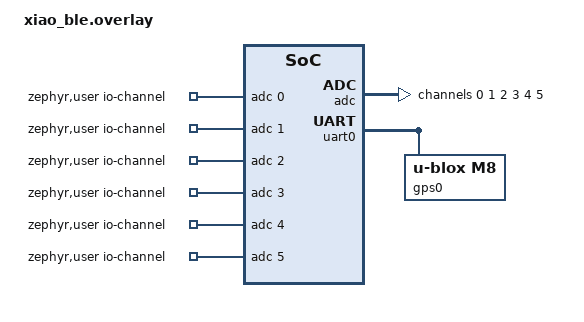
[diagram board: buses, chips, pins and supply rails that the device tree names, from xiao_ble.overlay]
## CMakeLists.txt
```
cmake_minimum_required(VERSION 3.20.0)
find_package(Zephyr REQUIRED HINTS $ENV{ZEPHYR_BASE})

project(Mark_1)

# NORDIC SDK APP START
target_sources(app PRIVATE
  src/main.c
  src/led_control.c
  src/led_control.h
  src/bluetooth_control.c
  src/bluetooth_control.h
  src/adc_control.c
  src/adc_control.h
  src/button_control.c
  src/button_control.h
  src/UART_bt_control.c
  src/UART_bt_control.h
  src/boot_bt_connect.c
  src/boot_bt_connect.h
  src/GPS.c
  src/GPS.h
  src/IMU.c
  src/IMU.h
  src/iphone_bt_connect.c
  src/iphone_bt_connect.h
  src/left_boot_operation.c
  src/left_boot_operation.h
  src/right_boot_operation.c
  src/right_boot_operation.h
)

# NORDIC SDK APP END
zephyr_library_include_directories(.)
```

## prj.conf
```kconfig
#Blueteeth LE
CONFIG_BT=y 
CONFIG_BT_DEVICE_NAME="BOARD_HALO_MARK3" 
CONFIG_BT_PERIPHERAL=y

# Logger module
CONFIG_LOG=y 

# Enable the LBS service
CONFIG_BT_LBS=y 
CONFIG_DK_LIBRARY=y

CONFIG_SYSTEM_WORKQUEUE_STACK_SIZE=4096
CONFIG_MAIN_STACK_SIZE=4096
CONFIG_HEAP_MEM_POOL_SIZE=8192
# console buffer ouput sizes
CONFIG_LOG_BUFFER_SIZE=10000


#PWM
CONFIG_PWM=y
CONFIG_COMMON_LIBC_MALLOC=y
CONFIG_PWM_NRFX=y

# GPIO
CONFIG_GPIO=y

# ADC
CONFIG_ADC=y

# SCAN MODULE
CONFIG_BT_CENTRAL=y
CONFIG_BT_SCAN=y


# SECURITY
CONFIG_BT_SMP=y

# BONDING #somthing is stopping the scanning to start when the bonding occurs. 
CONFIG_SETTINGS=y
CONFIG_BT_SETTINGS=y
CONFIG_FLASH=y
CONFIG_FLASH_PAGE_LAYOUT=y
CONFIG_FLASH_MAP=y
CONFIG_NVS=y

# ACCEPT LIST
CONFIG_BT_FILTER_ACCEPT_LIST=y
CONFIG_BT_PRIVACY=y
CONFIG_BT_MAX_PAIRED=1

# SCAN FILTERS
CONFIG_BT_SCAN_FILTER_ENABLE=y
CONFIG_BT_SCAN_SHORT_NAME_MAX_LEN=100
CONFIG_BT_SCAN_UUID_CNT=1
CONFIG_BT_SCAN_SHORT_NAME_CNT=1
CONFIG_BT_SCAN_NAME_CNT=1
CONFIG_BT_SCAN_ADDRESS_CNT=1

# BLUETOOTH CENTRAL TRANSMIT 
CONFIG_BT_GATT_CLIENT=y

CONFIG_BT_SMP=y

CONFIG_BT_L2CAP_TX_MTU=100
CONFIG_BT_BUF_ACL_RX_SIZE=100
CONFIG_BT_BUF_ACL_RX_COUNT=10



# MUTEX
# CONFIG_NUM_PREEMPT_PRIORITIES=2

# NUS Bluetooth? Added this in so the GNSS code could work 
CONFIG_BT_NUS_CLIENT=y
CONFIG_BT_NUS=y
CONFIG_BT_GATT_DM=y     # For GATT Discovery Manager


# GPS SET UP
CONFIG_GNSS=y
CONFIG_GNSS_REFERENCE_FRAME_WGS84=y
CONFIG_GNSS_U_BLOX_M8=y
# CONFIG_SERIAL=y
# CONFIG_UART_INTERRUPT_DRIVEN=y
# CONFIG_UART_ASYNC_API=y
# CONFIG_UART_WIDE_DATA=y

# CONFIG_GNSS=y
# CONFIG_GNSS_SATELLITES=y
# CONFIG_GNSS_DUMP=y
# CONFIG_GNSS_PARSE=y
# CONFIG_GNSS_NMEA0183=y
# CONFIG_GNSS_NMEA0183_MATCH=y

# CONFIG_MODEM=y
# CONFIG_MODEM_MODULES=y
# CONFIG_MODEM_UBX=y
# CONFIG_GNSS_U_BLOX_PROTOCOL=y

# CONFIG_GNSS_LOG_LEVEL_ERR=y

# CONFIG_GNSS_U_BLOX_M8=y

# CONFIG_CBPRINTF_FP_SUPPORT=y
# CONFIG_CBPRINTF_COMPLETE=y

#IMU includes: 
CONFIG_SENSOR=y
CONFIG_I2C=y
# CONFIG_SPI=y
CONFIG_LSM6DSL=y
# CONFIG_LSM6DSL_TRIGGER_GLOBAL_THREAD=y

# CONFIG_LSM6DSL_GYRO_ODR=1
# CONFIG_LSM6DSL_ACCEL_ODR=1
```

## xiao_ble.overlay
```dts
/ {
    zephyr,user {
        io-channels = <&adc 0>, <&adc 1>, <&adc 2>, <&adc 3>, <&adc 4>, <&adc 5>;
    };
};

&adc {
    #address-cells = <1>;
    #size-cells = <0>;
    status = "okay";

    channel@0 {
        reg = <0>;
        zephyr,gain = "ADC_GAIN_1_2";
        zephyr,reference = "ADC_REF_INTERNAL";
        zephyr,acquisition-time = <ADC_ACQ_TIME_DEFAULT>;
        zephyr,input-positive = <NRF_SAADC_AIN0>; /* P0.02 */
        zephyr,resolution = <12>;
        zephyr,oversampling = <0>;
    };

    channel@1 {
        reg = <1>;
        zephyr,gain = "ADC_GAIN_1_2";
        zephyr,reference = "ADC_REF_INTERNAL";
        zephyr,acquisition-time = <ADC_ACQ_TIME_DEFAULT>;
        zephyr,input-positive = <NRF_SAADC_AIN1>; /* P0.03 */
        zephyr,resolution = <12>;
        zephyr,oversampling = <0>;
    };

    channel@2 {
        reg = <2>;
        zephyr,gain = "ADC_GAIN_1_2";
        zephyr,reference = "ADC_REF_INTERNAL";
        zephyr,acquisition-time = <ADC_ACQ_TIME_DEFAULT>;
        zephyr,input-positive = <NRF_SAADC_AIN2>; /* P0.28 */
        zephyr,resolution = <12>;
        zephyr,oversampling = <0>;
    };

    channel@3 {
        reg = <3>;
        zephyr,gain = "ADC_GAIN_1_2";
        zephyr,reference = "ADC_REF_INTERNAL";
        zephyr,acquisition-time = <ADC_ACQ_TIME_DEFAULT>;
        zephyr,input-positive = <NRF_SAADC_AIN3>; /* P0.29 */
        zephyr,resolution = <12>;
        zephyr,oversampling = <0>;
    };

    channel@4 {
        reg = <4>;
        zephyr,gain = "ADC_GAIN_1_2";
        zephyr,reference = "ADC_REF_INTERNAL";
        zephyr,acquisition-time = <ADC_ACQ_TIME_DEFAULT>;
        zephyr,input-positive = <NRF_SAADC_AIN4>; /* P0.04 */
        zephyr,resolution = <12>;
        zephyr,oversampling = <0>;
    };

    channel@5 {
        reg = <5>;
        zephyr,gain = "ADC_GAIN_1_2";
        zephyr,reference = "ADC_REF_INTERNAL";
        zephyr,acquisition-time = <ADC_ACQ_TIME_DEFAULT>;
        zephyr,input-positive = <NRF_SAADC_AIN5>; /* P0.05 */
        zephyr,resolution = <12>;
        zephyr,oversampling = <0>;
    };


};

&uart0 {
    status = "okay";
    gps0: gps {
        compatible = "u-blox,m8";
        uart-baudrate = <115200>;
        status = "okay";
    };
};
```

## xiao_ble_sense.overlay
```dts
/ {
    zephyr,user {
        io-channels = <&adc 0>, <&adc 1>, <&adc 2>, <&adc 3>, <&adc 4>, <&adc 5>;
    };
};

&uart0 {
    status = "okay";
    gps0: gps {
        compatible = "u-blox,m8";
        uart-baudrate = <115200>;
        status = "okay";
    };
};

/ {
    lsm6ds3tr-c-en {
        startup-delay-us = <10000>;
    };
};


&adc {
    #address-cells = <1>;
    #size-cells = <0>;
    status = "okay";

    channel@0 {
        reg = <0>;
        zephyr,gain = "ADC_GAIN_1_2";
        zephyr,reference = "ADC_REF_INTERNAL";
        zephyr,acquisition-time = <ADC_ACQ_TIME_DEFAULT>;
        zephyr,input-positive = <NRF_SAADC_AIN0>; /* P0.02 */
        zephyr,resolution = <12>;
        zephyr,oversampling = <0>;
    };

    channel@1 {
        reg = <1>;
        zephyr,gain = "ADC_GAIN_1_2";
        zephyr,reference = "ADC_REF_INTERNAL";
        zephyr,acquisition-time = <ADC_ACQ_TIME_DEFAULT>;
        zephyr,input-positive = <NRF_SAADC_AIN1>; /* P0.03 */
        zephyr,resolution = <12>;
        zephyr,oversampling = <0>;
    };

    channel@2 {
        reg = <2>;
        zephyr,gain = "ADC_GAIN_1_2";
        zephyr,reference = "ADC_REF_INTERNAL";
        zephyr,acquisition-time = <ADC_ACQ_TIME_DEFAULT>;
        zephyr,input-positive = <NRF_SAADC_AIN2>; /* P0.28 */
        zephyr,resolution = <12>;
        zephyr,oversampling = <0>;
    };

    channel@3 {
        reg = <3>;
        zephyr,gain = "ADC_GAIN_1_2";
        zephyr,reference = "ADC_REF_INTERNAL";
        zephyr,acquisition-time = <ADC_ACQ_TIME_DEFAULT>;
        zephyr,input-positive = <NRF_SAADC_AIN3>; /* P0.29 */
        zephyr,resolution = <12>;
        zephyr,oversampling = <0>;
    };

    channel@4 {
        reg = <4>;
        zephyr,gain = "ADC_GAIN_1_2";
        zephyr,reference = "ADC_REF_INTERNAL";
        zephyr,acquisition-time = <ADC_ACQ_TIME_DEFAULT>;
        zephyr,input-positive = <NRF_SAADC_AIN4>; /* P0.04 */
        zephyr,resolution = <12>;
        zephyr,oversampling = <0>;
    };

    channel@5 {
        reg = <5>;
        zephyr,gain = "ADC_GAIN_1_2";
        zephyr,reference = "ADC_REF_INTERNAL";
        zephyr,acquisition-time = <ADC_ACQ_TIME_DEFAULT>;
        zephyr,input-positive = <NRF_SAADC_AIN5>; /* P0.05 */
        zephyr,resolution = <12>;
        zephyr,oversampling = <0>;
    };


};
```

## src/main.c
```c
#include <zephyr/kernel.h>
#include <zephyr/logging/log.h>
#include <zephyr/drivers/adc.h>
#include <stdlib.h>


#include "led_control.h"
#include "adc_control.h"
#include "bluetooth_control.h"
#include "button_control.h"
#include "UART_bt_control.h"
#include "boot_bt_connect.h"
#include "GPS.h"
#include "IMU.h"
#include "left_boot_operation.h"
#include "right_boot_operation.h"

#include <math.h>

// GPIO0 - adc read pins
#define PIN_ADC_READ_0 (2)
#define PIN_ADC_READ_1 (3)
#define PIN_ADC_READ_2 (28)
#define PIN_ADC_READ_3 (29)
#define PIN_ADC_READ_4 (4)
#define PIN_ADC_READ_5 (5)

// GPIO1
//PIN_BOOT_DEFINE_SWITCH in the button_control.h file
//PIN_BOOT_PAIRING_BUTTON in the button_control.h file
//PIN_WRIST_PAIRING_BUTTON in button_control.h file

#define BOND_CONNECT_COUNT_THRESHOLD (4) //number of half second period to try bonding before giving up
#define PRESSURE_THRESHOLD (100)


// FUNCTION DEFINITIONS

void pairing_button_cb(const struct device *port, struct gpio_callback *cb, gpio_port_pins_t pins);
void bt_ready_cb(int err);

LOG_MODULE_REGISTER(base_station, LOG_LEVEL_INF);

//flags
bool btReady = false; 



int main(void)
{
        k_sleep(K_SECONDS(2));
        //Setup
        int err = 0; 

        //flags 
        extern bool isRightBoot; 
        bool requestFinished = true; 
        extern bool adcFinished;
        extern bool UARTFinished; 
        extern bool UARTSendEnable; 
        bool UARTTransmit = false; 
        
        //variables
        int *UART_Comp_Array;
        // extern const struct device *uart; //uart binding
        extern uint8_t uart_rx_data[]; // array for receiving data from the left boot
        extern struct k_mutex uart_data_mutex; 
        uint8_t uart_phone_buf[2*NUM_SENSORS+IMU_BYTES+GPS_BYTES];

        extern struct gps_data gps_data;

        //get the gpio binding
        const struct device *gpio0_dev = DEVICE_DT_GET(DT_NODELABEL(gpio0));
	if (gpio0_dev == NULL) {
		LOG_ERR("Device binding is not found\n");
		return -1; 
	}

        const struct device *gpio1_dev = DEVICE_DT_GET(DT_NODELABEL(gpio1));
	if (gpio1_dev == NULL) {
		LOG_ERR("Device binding is not found\n");
		return -1; 
	}

        //------------------------LED INIT------------------------//
        // on board status led
        err = dk_leds_init();
	if (err) {
		printk("LEDs init failed (err %d)\n", err);
		return 0;
	}



        // ---------------------------ADC INIT---------------------------//

        // //initalize the adc device tree variable 
        static const struct adc_dt_spec adc_channel_0 = ADC_DT_SPEC_GET_BY_IDX(DT_PATH(zephyr_user),0);
        static const struct adc_dt_spec adc_channel_1 = ADC_DT_SPEC_GET_BY_IDX(DT_PATH(zephyr_user),1);
        static const struct adc_dt_spec adc_channel_2 = ADC_DT_SPEC_GET_BY_IDX(DT_PATH(zephyr_user),2);
        static const struct adc_dt_spec adc_channel_3 = ADC_DT_SPEC_GET_BY_IDX(DT_PATH(zephyr_user),3);
        static const struct adc_dt_spec adc_channel_4 = ADC_DT_SPEC_GET_BY_IDX(DT_PATH(zephyr_user),4);
        static const struct adc_dt_spec adc_channel_5 = ADC_DT_SPEC_GET_BY_IDX(DT_PATH(zephyr_user),5);

        const struct device *adc_dev = DEVICE_DT_GET(DT_NODELABEL(adc));

        if(!adc_is_ready_dt(&adc_channel_0)){
                LOG_ERR("ADC controller device %s not ready", adc_channel_0.dev->name);
        }

        if(!adc_is_ready_dt(&adc_channel_1)){
                LOG_ERR("ADC controller device %s not ready", adc_channel_1.dev->name);
        }

        if(!adc_is_ready_dt(&adc_channel_2)){
                LOG_ERR("ADC controller device %s not ready", adc_channel_2.dev->name);
        }

        if(!adc_is_ready_dt(&adc_channel_3)){
                LOG_ERR("ADC controller device %s not ready", adc_channel_3.dev->name);
        }

        if(!adc_is_ready_dt(&adc_channel_4)){
                LOG_ERR("ADC controller device %s not ready", adc_channel_4.dev->name);
        }

        if(!adc_is_ready_dt(&adc_channel_5)){
                LOG_ERR("ADC controller device %s not ready", adc_channel_5.dev->name);
        }

        err = adc_channel_setup_dt(&adc_channel_0);
        if (err < 0) {
                LOG_ERR("Could not setup channel #%d (%d)", 0, err);
                return 0;
        }

        err = adc_channel_setup_dt(&adc_channel_1);
        if (err < 0) {
                LOG_ERR("Could not setup channel #%d (%d)", 0, err);
                return 0;
        }

        err = adc_channel_setup_dt(&adc_channel_2);
        if (err < 0) {
                LOG_ERR("Could not setup channel #%d (%d)", 0, err);
                return 0;
        }

        err = adc_channel_setup_dt(&adc_channel_3);
        if (err < 0) {
                LOG_ERR("Could not setup channel #%d (%d)", 0, err);
                return 0;
        }

        err = adc_channel_setup_dt(&adc_channel_4);
        if (err < 0) {
                LOG_ERR("Could not setup channel #%d (%d)", 0, err);
                return 0;
        }

        err = adc_channel_setup_dt(&adc_channel_5);
        if (err < 0) {
                LOG_ERR("Could not setup channel #%d (%d)", 0, err);
                return 0;
        }

        struct adc_sequence_options opts = {
                .interval_us = 0,
                .callback = my_adc_sequence_callback,
                .user_data = NULL, 
                .extra_samplings = 0,
                
        };
        uint8_t adc_buf[ADC_BUFFER_SIZE] = {0};
        
	struct adc_sequence sequence = {
		.buffer = &adc_buf,
		.buffer_size = sizeof(adc_buf),
		//Optional
		//.calibrate = true, //turn on calibration after the bare minimum code is active
                .options = &opts,
                .channels = (1 << NUM_SENSORS) - 1,
                .resolution = 12,
	};

        err = adc_read(adc_dev, &sequence);
        if (err < 0) {
                LOG_ERR("Could not read (%d)", err);
                return -1; 
        }

        //test the adc read 
        for (int i = 0; i < ADC_BUFFER_SIZE; i++){
                LOG_INF("INDEX: %d -- VALUE: %d", i, adc_buf[i]);
        }

        while(!adcFinished);
        LOG_INF("ADC INITALIZATION DONE\n"); 




        //----------------------GPIO INIT--------------------------//

        //---------------------SWITCH INIT----------------------//
        err = init_select_switch(gpio1_dev, PIN_BOOT_DEFINE_SWITCH);
        if (err < 0) {
                LOG_ERR("ERR Initializing L_R define switch: %d", err);
        }

        err = gpio_pin_get(gpio1_dev,PIN_BOOT_DEFINE_SWITCH);
        LOG_INF("Switch Result: %d", err);
        if (err < 0){
                LOG_ERR("ERROR getting state L_R define switch: %d", err);
        } else if(err == 1){
                isRightBoot = true; 
                UART_Comp_Array = k_malloc(sizeof(uint16_t)*NUM_SENSORS);
                LOG_INF("Right Boot Present");
        } else {
                isRightBoot = false; 
                LOG_INF("Left Boot Present");
        }

        //---------------------BUTTON INIT-------------------------//
        static struct gpio_callback button_interupt_cb_pairing;
        static struct gpio_callback button_interupt_cb_phone;
        
        err = init_pairing_button(gpio1_dev, PIN_BOOT_PAIRING_BUTTON, &button_interupt_cb_pairing, boot_pairing_button_cb);
        if (err < 0){
                LOG_ERR("ERROR Inializing L_R pairing button: %d", err);
        }

        err = init_pairing_button(gpio1_dev,PIN_PHONE_PAIRING_BUTTON, &button_interupt_cb_phone, phone_pairing_button_cb);
        if (err < 0) {
                LOG_ERR("ERROR Intializing wrist pairing button: %d", err);
        }
        //-----------------BLUETOOTH -----------------------//

        
        //-----------------------BLUETOOTH SCAN----------------------//
        LOG_INF("Eabling the bluetooth module to start");
        err = bt_enable(bt_ready_cb);
	if (err) {
		LOG_ERR("Bluetooth init failed (err %d)", err);
		return 0;
	}

        struct bt_conn_cb cb = {
                .connected = connected,
                .disconnected = disconnected,
                .security_changed = on_security_changed,
        };

        bt_conn_cb_register(&cb);

        while(!btReady);

        err = settings_load();
        if (err) {
                LOG_ERR("Settings load failed (err %d)", err);
        }

        if(isRightBoot){
                const struct bt_scan_init_param bt_scan_init_opts = {
                        .scan_param = NULL, //default config 
                        .connect_if_match = true,
                        .conn_param = NULL, //default config
                };

                bt_scan_init(&bt_scan_init_opts); 
                BT_SCAN_CB_INIT(boot_scan_cb, boot_scan_filter_match, boot_scan_filter_no_match, boot_scan_connecting_error, boot_scan_connecting);
                bt_scan_cb_register(&boot_scan_cb);
                
                //RIGHT BOOT with LEFT BOOT set up
                err= nus_client_init();
                if (err < 0){
                        LOG_INF("Failed to intialized nus client");
                }

                struct bt_nus_cb uart_cb = {
                        .sent = sent_uart_cb,
                        .send_enabled = send_enable_uart_cb,

                };

                //RIGHT BOOT with PHONE SET UP 
                err = bt_nus_init(&uart_cb);
                if(err < 0){
                        LOG_ERR("ERROR UART service init error: %d", err);
                }
        } else {
                struct bt_nus_cb uart_cb = {
                        .sent = sent_uart_cb,
                        .send_enabled = send_enable_uart_cb,

                };

                //LEFT BOOTH SET UP 
                err = bt_nus_init(&uart_cb);
                if(err < 0){
                        LOG_ERR("ERROR UART service init error: %d", err);
                }

        }

        *led_operation_ptr = BOARD_ALIVE;

        
        //----------------------GPS INIT---------------------------//
        // check if the device is available
        if (!device_is_ready(GPS_DEVICE)) {
                LOG_ERR("GNSS device is not ready");
                return -1;
        } else {
                LOG_INF("GPS DEVICE IS READY");
        }

        // GPS scanning start
        GNSS_DATA_CALLBACK_DEFINE(GPS_DEVICE, gnss_data_cb);

        //-------------------IMU INIT ------------------------//
        if(IMU_DEVICE_READY){
                err = IMUSetup();
                if(err < 0){
                        return -1;
                }
        }

        // Initial Bluetooth COnnection start

        LOG_INF("STARTING THE BLUETOOTH START UP CONNECTIONS");

        // start the advertising of the left boot such that the right boot can connect
        if (isRightBoot){
                LOG_INF("RIGHT BOOT PRESENT");
		LOG_INF("SCANNING FOR L boot");
		// use the scanning options
		k_work_submit(&Lboot_scan_work);

                k_sleep(K_SECONDS(2));

                LOG_INF("Advertising right boot for phone connection");
		// use the scanning options
		k_work_submit(&advertise_phone_work);
	} else {
                LOG_INF("LEFT BOOT PRESENT");
		//left boot operation is being focused on 
		LOG_INF("ADVERTISING L BOOT");
		k_work_submit(&advertise_L_boot_work);

	}

        for(;;){
                if(!isRightBoot){ //LEFT/Server
                LOG_INF("In the LEFT BRANCH");
                        left_boot_operation(&requestFinished, &adcFinished, &UARTFinished, &UARTSendEnable, ADC_BUFFER_SIZE, adc_dev, &sequence, &adc_buf);
                        
                } else {
                LOG_INF("In the RIGHT Branch");
                        right_boot_operation(&requestFinished, &UARTTransmit, &UARTSendEnable, &adcFinished, adc_dev, &sequence, &adc_buf, &uart_rx_data, &uart_data_mutex, &uart_phone_buf, &gps_data);
                }
                
                
                status_led_operation(*led_operation_ptr);

        }
        return 0;
};

/** @brief  callback function to show the user is a connection has been made or not and set flag to allow the code to begin bluetooth activites
 * 
 *     
 *  @param err: error present with the connection if at all. 
 *  
*/

void bt_ready_cb(int err){
        if (err < 0){
                LOG_ERR("Error with enabling the bluetooth module (err: %d)", err);
        } else {
                LOG_INF("Bluetooth initialized");
        }

        btReady = true; 

};
```

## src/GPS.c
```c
#include "GPS.h"

LOG_MODULE_REGISTER(gps, LOG_LEVEL_DBG);

struct gps_data gps_data = {0};

void gnss_data_cb(const struct device *dev, const struct gnss_data *data)
{
	if (data->info.fix_status != GNSS_FIX_STATUS_NO_FIX) { 
        LOG_INF("GNSS WORKING");
		double latitude = data->nav_data.latitude /1e9;
        double longitude = data->nav_data.longitude/ 1e9;
        double speed = data->nav_data.speed; // Speed in meters per second
        struct gnss_time time = data->utc; // Convert timestamp to time structure

        gps_data.time.hours = time.hour;
        gps_data.time.minutes = time.minute;
        gps_data.time.milliseconds = time.millisecond;
        gps_data.latitude = latitude;
        gps_data.longitude = longitude;
        gps_data.speed = speed;
        

        LOG_INF("Location: Latitude: %.6f, Longitude: %.6f, Time: %02d:%02d:%02d UTC, Speed: %.2f mm/s",
                latitude,
                longitude,
                time.hour,
                time.minute,
                time.millisecond,
                speed);
	} else {
        LOG_INF("NO FIX");
    }
}
// GNSS_DATA_CALLBACK_DEFINE(GPS_DEVICE, gnss_data_cb);
```

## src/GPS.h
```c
#ifndef GPS_H
#define GPS_H

#include <zephyr/kernel.h>
#include <zephyr/logging/log.h>
#include <zephyr/device.h>
#include <zephyr/drivers/gnss.h>
#include <zephyr/drivers/gpio.h>

#define GPS_NODE DT_NODELABEL(gps0)
#define GPS_DEVICE DEVICE_DT_GET(GPS_NODE)
#define GPS_BYTES (8+8+4+1+1+2+2) //exta Plus 2 is added to provide the spacing

#if DT_NODE_EXISTS(GPS_NODE)
#define GPS_DEVICE_READY 1
#else
#define GPS_DEVICE_READY 0
#endif

// External variables 
extern struct gps_data gps_data;

//struct define
struct gps_time {
    uint8_t hours;    // Hours (0-23)
    uint8_t minutes;  // Minutes (0-59)
    uint16_t milliseconds;  // Seconds (0-5999)
};

struct gps_data {
    double latitude;
    double longitude;
    float speed;
    struct gps_time time; // Nested time struct
};


// Function declarations
void gnss_data_cb(const struct device *dev, const struct gnss_data *data);



#endif /* GPS_H */
```

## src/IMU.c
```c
#include "IMU.h"

LOG_MODULE_REGISTER(imu, LOG_LEVEL_INF);

#if IMU_DEVICE_READY // Only include IMU-related code if the device is present

int IMUSetup(){
    if (!device_is_ready(IMU_DEVICE)) {
                LOG_ERR("IMU device is not ready");
                return -1;
        } else {
                LOG_INF("IMU DEVICE MegIS READY");
        }

    return 0; 
};

int readIMUData(double accel[], double gyro[]){
    int err = 0; 

    static struct sensor_value accel_x, accel_y, accel_z;
	static struct sensor_value gyro_x, gyro_y, gyro_z;


    // Fetch accelerometer data
    err = sensor_sample_fetch_chan(IMU_DEVICE, SENSOR_CHAN_ACCEL_XYZ);
    if (err < 0) {
        LOG_ERR("Error fetching accelerometer data: %d", err);
        return err;  // Exit or handle the error appropriately
    }

    // Get accelerometer channels
    err = sensor_channel_get(IMU_DEVICE, SENSOR_CHAN_ACCEL_X, &accel_x);
    if (err < 0) {
        LOG_ERR("Error getting accelerometer X channel: %d", err);
    }

    err = sensor_channel_get(IMU_DEVICE, SENSOR_CHAN_ACCEL_Y, &accel_y);
    if (err < 0) {
        LOG_ERR("Error getting accelerometer Y channel: %d", err);
    }

    err = sensor_channel_get(IMU_DEVICE, SENSOR_CHAN_ACCEL_Z, &accel_z);
    if (err < 0) {
        LOG_ERR("Error getting accelerometer Z channel: %d", err);
    }

    // Fetch gyroscope data
    err = sensor_sample_fetch_chan(IMU_DEVICE, SENSOR_CHAN_GYRO_XYZ);
    if (err < 0) {
        LOG_ERR("Error fetching gyroscope data: %d", err);
        return err;  // Exit or handle the error appropriately
    }

    // Get gyroscope channels
    err = sensor_channel_get(IMU_DEVICE, SENSOR_CHAN_GYRO_X, &gyro_x);
    if (err < 0) {
        LOG_ERR("Error getting gyroscope X channel: %d", err);
    }

    err = sensor_channel_get(IMU_DEVICE, SENSOR_CHAN_GYRO_Y, &gyro_y);
    if (err < 0) {
        LOG_ERR("Error getting gyroscope Y channel: %d", err);
    }

    err = sensor_channel_get(IMU_DEVICE, SENSOR_CHAN_GYRO_Z, &gyro_z);
    if (err < 0) {
        LOG_ERR("Error getting gyroscope Z channel: %d", err);
    }

    accel[0] = sensor_value_to_double(&accel_x);
    accel[1] = sensor_value_to_double(&accel_y);
    accel[2] = sensor_value_to_double(&accel_z);

    gyro[0] = sensor_value_to_double(&gyro_x);
    gyro[1] = sensor_value_to_double(&gyro_y);
    gyro[2] = sensor_value_to_double(&gyro_z);

    return 0;
   
}

#endif // IMU_DEVICE_READY
```

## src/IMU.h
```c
#ifndef IMU_H
#define IMU_H

#include <zephyr/kernel.h>
#include <zephyr/logging/log.h>
#include <zephyr/device.h>
#include <zephyr/drivers/gpio.h>
#include <zephyr/drivers/sensor.h>


#define IMU_NODE DT_NODELABEL(lsm6ds3tr_c)
#define IMU_DEVICE DEVICE_DT_GET(IMU_NODE)
#define SAMPLE_FREQUENCY (2)
#define IMU_BYTES (6*4*2+2) //plus two for the spacing of data 

#if DT_NODE_EXISTS(IMU_NODE)
#define IMU_DEVICE_READY 1
#else
#define IMU_DEVICE_READY 0
#endif

// External variables 

//struct define

// Function declarations
#if IMU_DEVICE_READY
int IMUSetup();
int readIMUData(double accel[], double gyro[]);
#endif

#endif /* IMU_H */
```

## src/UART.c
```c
#include "UART.h"

LOG_MODULE_REGISTER(UART, LOG_LEVEL_INF);




#define UART_BUF_SIZE 128
static uint8_t uart_rx_buf[UART_BUF_SIZE];


int configUART(const struct device *uart){
    if (!device_is_ready(uart)) {
        return -ENODEV;
    }

    const struct uart_config uart_cfg = {
        .parity = UART_CFG_PARITY_NONE,
        .stop_bits = UART_CFG_STOP_BITS_1,
        .data_bits = UART_CFG_DATA_BITS_8,
        .flow_ctrl = UART_CFG_FLOW_CTRL_NONE
    };

    int err = uart_configure(uart, &uart_cfg);
    if (err < 0) {
        return err;
    }

    return 0;

};


static void uart_cb(const struct device *dev, struct uart_event *evt, void *user_data) {
    switch (evt->type) {
        case UART_TX_DONE:
            // Transmission complete
            LOG_INF("Transmission Complete");
            break;
        case UART_RX_RDY:
            // Copy the received data into a buffer
            memcpy(uart_rx_buf, evt->data.rx.buf + evt->data.rx.offset, evt->data.rx.len);
            uart_rx_buf[evt->data.rx.len] = '\0';  // Null-terminate the string

            
            LOG_INF("Data Received");
            // Process received data (do something with the data)
            find_and_parse_nmea((char *)uart_rx_buf, evt->data.rx.len);
            
            break;
        case UART_RX_DISABLED:
            // Re-enable UART RX if necessary
            uart_rx_enable(dev, uart_rx_buf, sizeof(uart_rx_buf), 100);
            break;
        default:
            break;
    }
}

int uart_init(const struct device *uart) {
    // Check if the UART device is ready
    if (!device_is_ready(uart)) {
        return -ENODEV;
    }

    // Set up the UART callback
    int err = uart_callback_set(uart, uart_cb, NULL);
    if (err < 0) {
        return err;
    }

    // Enable UART reception with a temporary receive buffer
    err = uart_rx_enable(uart, uart_rx_buf, sizeof(uart_rx_buf), 100);
    if (err < 0) {
        return err;
    }

    return 0;  // Success
};


// Function to parse the extracted NMEA sentence
static void parse_nmea_sentence(char *nmea_sentence) {
    char *token;
    char *latitude = NULL;
    char *longitude = NULL;
    char *time = NULL;
    char ns = 0, ew = 0;

    // Tokenize the NMEA sentence using commas as delimiters
    token = strtok(nmea_sentence, ",");

    int field_number = 0;
    while (token != NULL) {
        field_number++;

        switch (field_number) {
            case 2:  // Time field
                time = token;
                break;
            case 4:  // Latitude
                latitude = token;
                break;
            case 5:  // N/S indicator
                ns = *token;
                break;
            case 6:  // Longitude
                longitude = token;
                break;
            case 7:  // E/W indicator
                ew = *token;
                break;
            default:
                break;
        }

        // Move to the next field
        token = strtok(NULL, ",");
    }

    // Convert and print the results if valid
    if (latitude && longitude && time) {
        // Convert latitude and longitude from NMEA format
        float lat_deg = atof(latitude) / 100.0; // Convert to degrees
        float lon_deg = atof(longitude) / 100.0;

        // Apply N/S and E/W sign correction
        if (ns == 'S') lat_deg = -lat_deg;
        if (ew == 'W') lon_deg = -lon_deg;

        // Print the parsed information
        printk("Time: %2c%c:%2c%c:%2c%c UTC\n", time[0], time[1], time[2], time[3], time[4], time[5]);
        printk("Latitude: %.6f %c\n", lat_deg, ns);
        printk("Longitude: %.6f %c\n", lon_deg, ew);
    }
}

// Function to find $GPRMC in the received data
static void find_and_parse_nmea(char *buffer, size_t len) {
    char *start = strstr(buffer, "$GPRMC");
    if (start) {
        // Find the end of the NMEA sentence (marked by a newline or carriage return)
        char *end = strchr(start, '\n');
        if (end) {
            *end = '\0';  // Terminate the sentence at the newline
            parse_nmea_sentence(start);  // Parse the sentence
        } else {
            // Handle incomplete sentence (wait for more data)
            printk("Incomplete NMEA sentence\n");
        }
    } else {
        printk("$GPRMC not found\n");
    }
}
```

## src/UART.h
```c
#ifndef UART_H
#define UART_H

#include <zephyr/kernel.h>
#include <zephyr/logging/log.h>
#include <zephyr/drivers/uart.h>



// External variables
// extern const struct device *uart; 

//struct define

// Function declarations
int configUART(const struct device *uart);
int uart_init(const struct device *uart);
static void find_and_parse_nmea(char *buffer, size_t len);
static void parse_nmea_sentence(char *nmea_sentence);


#endif /* UART_H */
```

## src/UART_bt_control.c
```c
#include "UART_bt_control.h"

LOG_MODULE_REGISTER(UART_bt_control, LOG_LEVEL_INF);

bool UARTSendEnable = false;
bool UARTFinished = false; 
 
uint8_t uart_rx_data[UART_BUF_SIZE] = {0};
K_MUTEX_DEFINE(uart_data_mutex);

/** @brief Callback function for when the UART transmission is completed
 *  
 *  @param[in] conn Pointer to connection object, or NULL if sent to all
 *                 connected peers. 
 */
void sent_uart_cb(struct bt_conn *conn) {
    LOG_INF("UART data successfully sent");
    UARTFinished = true; 

}

/** @brief Callback function to check if the central has accepted notifications,
 *         allowing the rest of the system to start working.
 *  
 *  @param[in] status Send notification status.
 */
void send_enable_uart_cb(enum bt_nus_send_status status) {
    if (status == BT_NUS_SEND_STATUS_ENABLED) {
        LOG_INF("The UART connection is successful");
        UARTSendEnable = true; 
    } else {
        LOG_ERR("The UART connection failed");
    }
}

//Callback for accepting the incoming uart data over ble

uint8_t ble_uart_data_received(struct bt_nus_client *nus, const uint8_t *data, uint16_t len){
	// LOG_INF("Received Data from UART");
	ARG_UNUSED(nus);

	for (uint16_t i = 0; i < len; i++){
		k_mutex_lock(&uart_data_mutex,K_FOREVER);
		uart_rx_data[i] = data[i];
		k_mutex_unlock(&uart_data_mutex);
	}

	return BT_GATT_ITER_CONTINUE; 
};

/** @brief initialize the nuse client module for receiving information 
 * 
 *  
 *  @return error is present 
 */

int nus_client_init(){
	int err = 0; 
	static struct bt_nus_client_init_param init = {
		.cb = {
			.received = ble_uart_data_received,
		}
	};

	err = bt_nus_client_init(&nus_client, &init);
	if (err < 0){
		LOG_ERR("NUS Client Initilaizaiton failed (err %d)", err);
		return err; 
	}

	LOG_INF("NUS Client module initilized");
	return err; 
}

/** @brief Convert broken UART transmission values to a full UART resoltuion 
 * 	 
 * 	@param msb_val most signigifaicant bit number
 *  @param lsb_val least significant bit numer
 * 
 *  @return return a full resolution value 
 */

uint16_t UART_full_resolution_converter(uint8_t msb_val, uint8_t lsb_val){
	return (msb_val << 8) | lsb_val;
};

/** @brief Split a full UART resolution value into MSB and LSB
 * 
 *  @param full_val Full 16-bit resolution value to be split
 *  @param msb_val Pointer to store the most significant byte
 *  @param lsb_val Pointer to store the least significant byte
 */
void UART_split_resolution(uint16_t full_val, uint8_t *msb_val, uint8_t *lsb_val) {
    *msb_val = (full_val >> 8) & 0xFF; // Extract the MSB (upper 8 bits)
    *lsb_val = full_val & 0xFF;       // Extract the LSB (lower 8 bits)
}
```

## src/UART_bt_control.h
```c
#ifndef UART_BT_CONTROL_H
#define UART_BT_CONTROL_H

#include <zephyr/kernel.h>
#include <zephyr/bluetooth/bluetooth.h>
#include <bluetooth/services/nus.h>
#include <bluetooth/services/nus_client.h>
#include <zephyr/logging/log.h>

#include "boot_bt_connect.h"

// External variables
extern bool UARTSendEnable; 
extern bool UARTFinished; 
extern struct k_mutex uart_data_mutex; 
extern uint8_t uart_rx_data[];


// Function declarations
void sent_uart_cb(struct bt_conn *conn);
void send_enable_uart_cb(enum bt_nus_send_status status);
int UART_gatt_discover(struct bt_conn *conn);
int nus_client_init();
uint16_t UART_full_resolution_converter(uint8_t msb_val, uint8_t lsb_val);
void UART_split_resolution(uint16_t full_val, uint8_t *msb_val, uint8_t *lsb_val);

#endif /* UART_BT_CONTROL_H */
```

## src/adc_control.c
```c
/*
 * Copyright (c) 2018 Nordic Semiconductor ASA
 *
 * SPDX-License-Identifier: LicenseRef-Nordic-5-Clause
 */

/** @file
 *  @brief LED Button Service (LBS) sample
 */

#include "adc_control.h"


#define ADC_CHANNEL_ID  DT_PROP(DT_CHILD(ADC_NODE, channel_0), reg)


LOG_MODULE_REGISTER(ADC_Control, LOG_LEVEL_INF);

//flag definitions 
bool adcFinished = true; 


/** @brief request data from sensor 
* 
* 
*  @param gpio_dev device structure that contains the device tree information for the gpio peripheral 
*  @param spec adct_dt_spec of the device tree specification for the adc
*  @param sel_pins[] array of the pins that will be used to control the multiplexer
*  @param num_pins  the number of pins that are used to control the multiplexer
*  @param num_sesnor the number value designated to the sensor that is to be checked
*  @param adc_buffer ptr to a buffer that is used to load the adc sampled values
*  
*  @return error or success code 
*          error codes:   
*                    -100 --> num_sensor to be checked is greater than the total number of sensors on the board.       
*                      other errors --> based on the pin logic value setting  
*/

int request_sensor_data(const struct adc_dt_spec *spec, struct adc_sequence *sequence){
    int err = 0; 
    //request the adc to start recording the data     
    err = adc_read(spec->dev, sequence);
    if (err < 0){
        LOG_ERR("Error (%d) has occured when trying to read from adc\n", err);
        return err; 
    }

    return 0; 
};

/** @brief adc callback function after each sampling
 * 
 * 
 *  @param device ptr to the device bonding 
 *  @param sequence ptr to the sequence data structure 
 *  @param sampling_index what number of sample is done where this callback should be called
 *  
 *  @return the action the adc will take next of enum adc_actoin
*/

enum adc_action my_adc_sequence_callback(const struct device *dev, const struct adc_sequence *sequence, uint16_t sampling_index){
    //set the adc done flag 
    adcFinished = true; 

    return ADC_ACTION_FINISH;
    
};
```

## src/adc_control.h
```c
/*
 * Copyright (c) 2018 Nordic Semiconductor ASA
 *
 * SPDX-License-Identifier: LicenseRef-Nordic-5-Clause
 */

#ifndef ADC_CONTROL_H
#define ADC_CONTROL_H

/**@file
 * @defgroup bt_lbs LED Button Service API
 * @{
 * @brief API for the LED Button Service (LBS).
 */

#ifdef __cplusplus
extern "C" {
#endif

#include <zephyr/types.h>
#include <zephyr/kernel.h>
#include <zephyr/device.h> //need to allow memory size in the heap to use malloc
#include <zephyr/drivers/gpio.h>
#include <zephyr/logging/log.h>
#include <zephyr/types.h>
#include <stdbool.h>
#include <stddef.h>
#include <stdlib.h>
#include <zephyr/drivers/adc.h>

#define ADC_RESOLUTION (12)
#define NUM_SENSORS (4)
#define ADC_BUFFER_SIZE (NUM_SENSORS*2)

extern bool adcFinished;
extern uint16_t led_handle;
extern struct bt_conn *conn; //TODO: make this an array of connections based on the connections that are allowed to allow for multiple gatt operations to take place. For now just allow one wrist device to take place. 

enum adc_action my_adc_sequence_callback(const struct device *dev, const struct adc_sequence *sequence, uint16_t sampling_index);
int simple_adc_init_and_call(const struct adc_dt_spec adc_channel);
int request_sensor_data(const struct adc_dt_spec *spec, struct adc_sequence *sequence);



#ifdef __cplusplus
}
#endif

/**
 * @}
 */

#endif /* ADC_CONTROL_H */
```

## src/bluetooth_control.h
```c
#ifndef BLUETOOTH_CONTROL_H
#define BLUETOOTH_CONTROL_H

#include <zephyr/kernel.h>
#include <zephyr/bluetooth/bluetooth.h>
#include <zephyr/bluetooth/gap.h>
#include <zephyr/logging/log.h>
#include <zephyr/bluetooth/uuid.h>
#include <zephyr/bluetooth/addr.h>
#include <zephyr/bluetooth/conn.h>
#include <zephyr/settings/settings.h>
#include <bluetooth/services/lbs.h>
#include <bluetooth/services/nus.h>Fv
#include <bluetooth/services/nus_client.h>
#include <zephyr/bluetooth/gatt.h>

#include <bluetooth/scan.h>
#include "boot_bt_connect.h"
#include "button_control.h"

#define DEVICE_BOARD_HALO_L "BOARD_HALO_L"
#define DEVICE_BOARD_HALO_R "BOARD_HALO_R"
#define DEVICE_WRIST_HALO "WRIST_HALO"

//Defining advertising parametert with no accept list 
#define BT_LE_ADV_CONN_NO_ACCEPT_LIST  BT_LE_ADV_PARAM(BT_LE_ADV_OPT_CONNECTABLE|BT_LE_ADV_OPT_ONE_TIME, \
				       BT_GAP_ADV_FAST_INT_MIN_2, \
				       BT_GAP_ADV_FAST_INT_MAX_2, NULL)

//defining advertising parameters with accept list
#define BT_LE_ADV_CONN_ACCEPT_LIST BT_LE_ADV_PARAM(BT_LE_ADV_OPT_CONNECTABLE|BT_LE_ADV_OPT_FILTER_CONN|BT_LE_ADV_OPT_ONE_TIME, \
				       BT_GAP_ADV_FAST_INT_MIN_2, \
				       BT_GAP_ADV_FAST_INT_MAX_2, NULL)

//struct definitions
struct bond_count_data {
	int count;
};

//external variables
extern bool ledHandleReady;
extern struct bt_conn *wrist_conn;
extern uint8_t read_data[100];
extern bool connectedFlag; 
extern struct k_work unpair_work; 
extern struct k_work scan_standard_work;
extern struct k_work bt_disconnect_all_work; 
extern struct k_work advertise_L_boot_work;
extern char device_name[13]; 

//function defines: 
void setup_accept_list_cb(const struct bt_bond_info *info, void *user_data);
int setup_accept_list(uint8_t local_id);
void unpair(); 

void scan_filter_match(struct bt_scan_device_info *device_info, struct bt_scan_filter_match *filter_match, bool connectable);
void scan_filter_no_match(struct bt_scan_device_info *device_info, bool connectable);
void scan_connecting(struct bt_scan_device_info *device_info, struct bt_conn *conn);
void scan_connecting_error(struct bt_scan_device_info *device_info);

void connected(struct bt_conn *conn, uint8_t err);
void disconnected(struct bt_conn *conn, uint8_t reason);
void on_security_changed(struct bt_conn *conn, bt_security_t level, enum bt_security_err err);

uint8_t discover_cb(struct bt_conn *conn, const struct bt_gatt_attr *attr, struct bt_gatt_discover_params *params);
int updateWristLED(bool led_on);
int readWristLED();
void print_uuid(const struct bt_uuid *uuid);
uint8_t gatt_read_func(struct bt_conn *conn, uint8_t err, struct bt_gatt_read_params *params, const void *data, uint16_t length);

void bond_initial_cb(const struct bt_bond_info *info, void *user_data);
void scan_standard(struct k_work *work);

void force_disconnect_cb(struct bt_conn *conn, void *data);
void bt_disconnect_all(struct k_work *work);

#endif /* BLUETOOTH_CONTROL_H */
```
